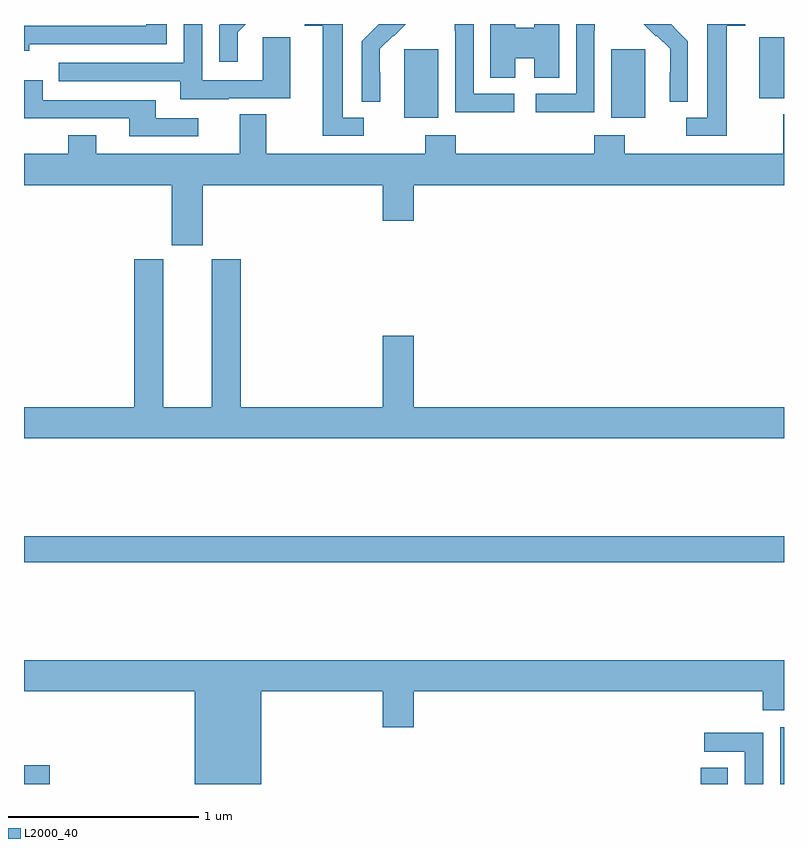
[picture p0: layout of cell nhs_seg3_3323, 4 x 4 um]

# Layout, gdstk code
import gdstk
lib = gdstk.Library(unit=1e-6, precision=1e-09)
def R(c, l, rs):  # rectangles x0, y0, x1, y1
    for r in rs: c.add(gdstk.rectangle(r[:2], r[2:], *l))
def P(c, l, *ps):  # polygons
    for p in ps: c.add(gdstk.Polygon(p, *l))
L2000_40 = (2000, 40)

nhs_seg3_3323 = lib.new_cell('nhs_seg3_3323')
R(nhs_seg3_3323, L2000_40, [(283,728.4,283.136,728.5), (286.562,728.4,286.705,728.486), (286.979,728.4,287,728.698), (283,729.568,287,729.704), (285.002,731.906,285.181,732.267), (286.091,731.906,286.27,732.267), (286.871,732.009,287,732.329)])
P(nhs_seg3_3323, L2000_40, [(286.494,732.31),(286.421,732.383),(286.422,732.384),(286.406,732.4),(286.262,732.4),(286.326,732.336),(286.329,732.339),(286.4,732.269),(286.4,732.146),(286.398,732.146),(286.398,731.992),(286.494,731.992)],
  [(284.077,732.009),(284.401,732.009),(284.401,732.329),(284.256,732.329),(284.256,732.105),(283.938,732.105),(283.938,732.4),(283.842,732.4),(283.842,732.195),(283.183,732.195),(283.183,732.099),(283.823,732.099),(283.823,732.005),(284.077,732.005)],
  [(285.58,732.033),(285.366,732.033),(285.366,732.4),(285.268,732.4),(285.268,732.364),(285.27,732.364),(285.27,731.935),(285.58,731.935)],
  [(284.874,732.146),(284.873,732.146),(284.873,732.269),(284.943,732.339),(284.946,732.336),(285.01,732.4),(284.866,732.4),(284.85,732.384),(284.851,732.383),(284.778,732.31),(284.778,731.992),(284.874,731.992)],
  [(283.028,732.294),(283.752,732.294),(283.752,732.4),(283.643,732.4),(283.643,732.39),(283,732.39),(283,732.26),(283.028,732.26)],
  [(284.788,731.907),(284.677,731.907),(284.677,732.4),(284.477,732.4),(284.477,732.392),(284.573,732.392),(284.573,731.811),(284.788,731.811)],
  [(284.125,732.357),(284.168,732.4),(284.034,732.4),(284.028,732.394),(284.028,732.201),(284.125,732.201)],
  [(285.586,732.221),(285.686,732.221),(285.686,732.118),(285.817,732.118),(285.817,732.4),(285.686,732.4),(285.686,732.379),(285.586,732.379),(285.586,732.4),(285.455,732.4),(285.455,732.118),(285.586,732.118)],
  [(286.699,732.392),(286.795,732.392),(286.795,732.4),(286.595,732.4),(286.595,731.907),(286.485,731.907),(286.485,731.811),(286.699,731.811)],
  [(286.002,732.364),(286.005,732.364),(286.005,732.4),(285.906,732.4),(285.906,732.033),(285.693,732.033),(285.693,731.935),(286.002,731.935)],
  [(283.918,731.904),(283.693,731.904),(283.693,732),(283.098,732),(283.098,732.103),(283,732.103),(283,732.006),(283.002,732.006),(283.002,731.904),(283.553,731.904),(283.553,731.808),(283.918,731.808)],
  [(283.942,731.552),(284.888,731.552),(284.888,731.364),(285.052,731.364),(285.052,731.552),(287,731.552),(287,731.924),(286.997,731.924),(286.997,731.716),(286.161,731.716),(286.161,731.815),(286.001,731.815),(286.001,731.716),(285.272,731.716),(285.272,731.815),(285.112,731.815),(285.112,731.716),(284.275,731.716),(284.275,731.924),(284.135,731.924),(284.135,731.716),(283.381,731.716),(283.381,731.815),(283.234,731.815),(283.234,731.716),(283,731.716),(283,731.552),(283.778,731.552),(283.778,731.235),(283.942,731.235)],
  [(287,730.384),(285.052,730.384),(285.052,730.759),(284.888,730.759),(284.888,730.384),(284.141,730.384),(284.141,731.163),(283.988,731.163),(283.988,730.384),(283.732,730.384),(283.732,731.163),(283.58,731.163),(283.58,730.384),(283,730.384),(283,730.22),(287,730.22)],
  [(284.248,728.888),(284.888,728.888),(284.888,728.7),(285.052,728.7),(285.052,728.888),(286.889,728.888),(286.889,728.789),(287,728.789),(287,729.052),(283,729.052),(283,728.888),(283.898,728.888),(283.898,728.4),(284.248,728.4)],
  [(286.89,728.67),(286.581,728.67),(286.581,728.571),(286.794,728.571),(286.794,728.4),(286.89,728.4)])

lib.write_gds('nhs_seg3_3323.gds')
